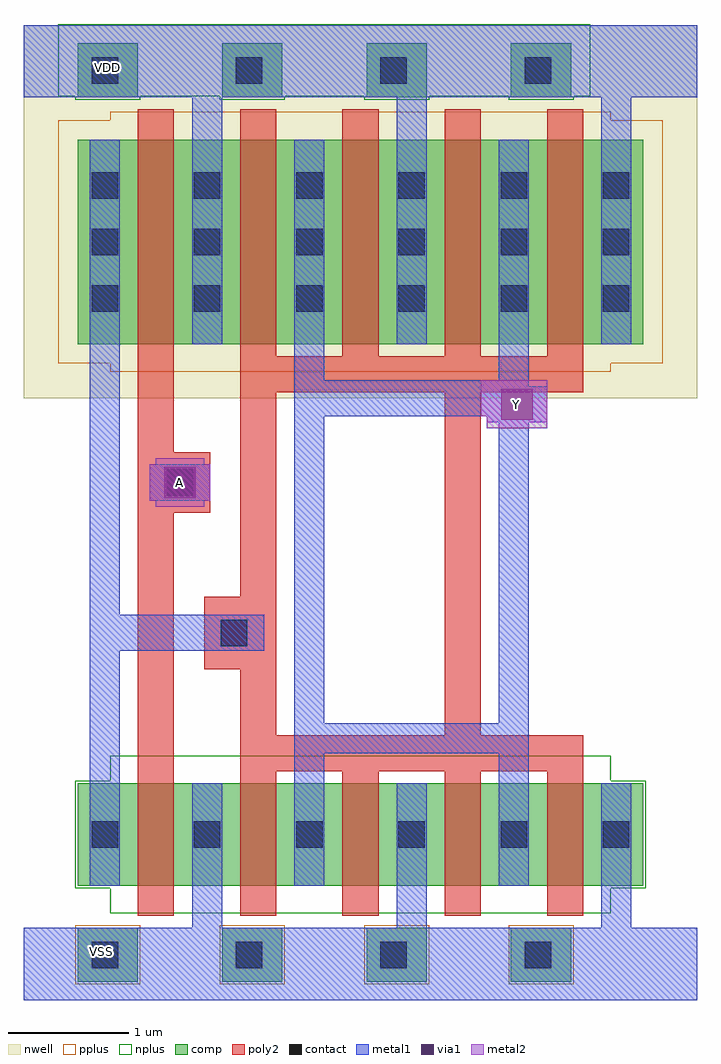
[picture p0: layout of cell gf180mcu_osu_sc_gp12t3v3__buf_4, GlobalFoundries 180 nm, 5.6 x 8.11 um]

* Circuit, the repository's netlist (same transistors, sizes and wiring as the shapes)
* Copyright 2022 Google LLC
*
* Licensed under the Apache License, Version 2.0 (the "License");
* you may not use this file except in compliance with the License.
* You may obtain a copy of the License at
*
*      http://www.apache.org/licenses/LICENSE-2.0
*
* Unless required by applicable law or agreed to in writing, software
* distributed under the License is distributed on an "AS IS" BASIS,
* WITHOUT WARRANTIES OR CONDITIONS OF ANY KIND, either express or implied.
* See the License for the specific language governing permissions and
* limitations under the License.

.inc "/import/yukari1/lrburle/OSU_180/char/techfiles/design.hspice"
.lib "/import/yukari1/lrburle/OSU_180/char/techfiles/sm141064.hspice" typical

.GLOBAL VDD
.GLOBAL VSS

.option scale=0.05u

.subckt gf180mcu_osu_sc_gp12t3v3__buf_4 A Y
X0 Y a_9_19 VDD VDD pmos_3p3 w=34 l=6
X1 VDD a_9_19 Y VDD pmos_3p3 w=34 l=6
X2 VDD a_9_19 Y VDD pmos_3p3 w=34 l=6
X3 Y a_9_19 VDD VDD pmos_3p3 w=34 l=6
X4 VDD A a_9_19 VDD pmos_3p3 w=34 l=6
X5 VSS a_9_19 Y VSS nmos_3p3 w=17 l=6
X6 VSS A a_9_19 VSS nmos_3p3 w=17 l=6
X7 VSS a_9_19 Y VSS nmos_3p3 w=17 l=6
X8 Y a_9_19 VSS VSS nmos_3p3 w=17 l=6
X9 Y a_9_19 VSS VSS nmos_3p3 w=17 l=6
.ends

** hspice subcircuit dictionary

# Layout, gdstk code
import gdstk
lib = gdstk.Library(unit=1e-6, precision=1e-09)
def R(c, l, rs):  # rectangles x0, y0, x1, y1
    for r in rs: c.add(gdstk.rectangle(r[:2], r[2:], *l))
def A(c, l, x, y, w, h, nx, ny, dx, dy):  # array of equal rectangles
    R(c, l, [(x+i*dx, y+j*dy, x+i*dx+w, y+j*dy+h) for i in range(nx) for j in range(ny)])
nwell = (21, 0)
comp = (22, 0)
poly2 = (30, 0)
pplus = (31, 0)
nplus = (32, 0)
contact = (33, 0)
metal1 = (34, 0)
via1 = (35, 0)
metal2 = (36, 0)

gf180mcu_osu_sc_gp12t3v3 = lib.new_cell('gf180mcu_osu_sc_gp12t3v3__buf_4')
R(gf180mcu_osu_sc_gp12t3v3, nwell, [(0,5,5.6,8.1)])
A(gf180mcu_osu_sc_gp12t3v3, comp, 0.45, 0.15, 0.5, 0.45, 4, 2, 1.2, 7.35)
R(gf180mcu_osu_sc_gp12t3v3, comp, [(0.45,0.95,5.15,1.8), (0.45,5.45,5.15,7.15)])
A(gf180mcu_osu_sc_gp12t3v3, poly2, 1.8, 0.7, 0.3, 1.2, 4, 1, 0.85, 0)
A(gf180mcu_osu_sc_gp12t3v3, poly2, 1.8, 5.35, 0.3, 2.05, 4, 1, 0.85, 0)
R(gf180mcu_osu_sc_gp12t3v3, poly2, [(0.95,0.7,1.25,4.05), (1.8,1.9,4.65,2.2), (1.8,2.2,2.1,2.75), (3.5,2.2,3.8,5.05), (1.5,2.75,2.1,3.35), (1.8,3.35,2.1,5.05), (0.95,4.05,1.55,4.55), (0.95,4.55,1.25,7.4), (1.8,5.05,4.65,5.35)])
A(gf180mcu_osu_sc_gp12t3v3, pplus, 0.43, 0.13, 0.54, 0.49, 4, 1, 1.2, 0)
R(gf180mcu_osu_sc_gp12t3v3, pplus, [(0.72,5.22,4.88,5.29), (0.29,5.29,5.31,7.31), (0.72,7.31,4.88,7.38)])
A(gf180mcu_osu_sc_gp12t3v3, nplus, 0.43, 7.48, 0.54, 0.03, 4, 1, 1.2, 0)
R(gf180mcu_osu_sc_gp12t3v3, nplus, [(0.72,0.72,4.88,0.93), (0.43,0.93,5.17,1.82), (0.72,1.82,4.88,2.03), (0.29,7.51,4.71,8.11)])
A(gf180mcu_osu_sc_gp12t3v3, contact, 0.565, 0.265, 0.22, 0.22, 4, 2, 1.2, 7.35)
A(gf180mcu_osu_sc_gp12t3v3, contact, 0.565, 1.265, 0.22, 0.22, 6, 2, 0.85, 4.455)
A(gf180mcu_osu_sc_gp12t3v3, contact, 0.565, 6.19, 0.22, 0.22, 6, 2, 0.85, 0.47)
R(gf180mcu_osu_sc_gp12t3v3, contact, [(1.64,2.94,1.86,3.16), (1.19,4.19,1.41,4.41)])
A(gf180mcu_osu_sc_gp12t3v3, metal1, 1.4, 0.6, 0.25, 1.2, 3, 1, 1.7, 0)
A(gf180mcu_osu_sc_gp12t3v3, metal1, 1.4, 5.45, 0.25, 2.05, 3, 1, 1.7, 0)
R(gf180mcu_osu_sc_gp12t3v3, metal1, [(0,0,5.6,0.6), (0.55,0.95,0.8,2.9), (2.25,0.95,2.5,2.05), (3.95,0.95,4.2,2.05), (2.25,2.05,4.2,2.3), (2.25,2.3,2.5,4.85), (3.95,2.3,4.2,4.8), (0.55,2.9,2,3.2), (0.55,3.2,0.8,7.15), (1.05,4.15,1.55,4.45), (3.85,4.8,4.35,4.85), (2.25,4.85,4.35,5.1), (2.25,5.1,4.2,5.15), (2.25,5.15,2.5,7.15), (3.95,5.15,4.2,7.15), (0,7.5,5.6,8.1)])
R(gf180mcu_osu_sc_gp12t3v3, via1, [(1.17,4.17,1.43,4.43), (3.97,4.82,4.23,5.08)])
R(gf180mcu_osu_sc_gp12t3v3, metal2, [(1.1,4.1,1.5,4.15), (1.05,4.15,1.55,4.45), (1.1,4.45,1.5,4.5), (3.85,4.75,4.35,4.85), (3.8,4.85,4.35,5.15)])
gf180mcu_osu_sc_gp12t3v3.add(gdstk.Label('VDD', (0.7,7.75), layer=34, texttype=0))
gf180mcu_osu_sc_gp12t3v3.add(gdstk.Label('VSS', (0.65,0.4), layer=34, texttype=0))
gf180mcu_osu_sc_gp12t3v3.add(gdstk.Label('A', (1.3,4.3), layer=36, texttype=10))
gf180mcu_osu_sc_gp12t3v3.add(gdstk.Label('Y', (4.1,4.95), layer=36, texttype=10))

lib.write_gds('gf180mcu_osu_sc_gp12t3v3__buf_4.gds')
